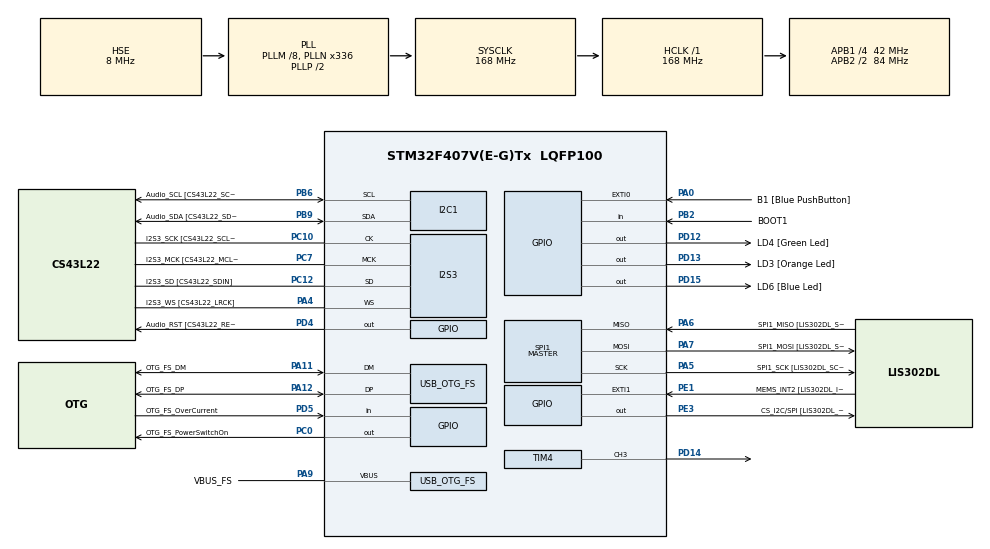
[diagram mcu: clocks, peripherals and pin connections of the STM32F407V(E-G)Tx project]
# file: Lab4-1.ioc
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I2S3.AudioFreq-Half_Duplex_Master=I2S_AUDIOFREQ_96K
I2S3.ErrorAudioFreq=-2.34 %
I2S3.ErrorAudioFreq-Half_Duplex_Master=0.8 %
I2S3.FullDuplexMode=I2S_FULLDUPLEXMODE_DISABLE
I2S3.Instance=SPI$Index
I2S3.RealAudioFreq=93.75 KHz
I2S3.RealAudioFreq-Half_Duplex_Master=96.774 KHz
I2S3.VirtualMode=I2S_MODE_MASTER
Mcu.Family=STM32F4
Mcu.Name=STM32F407V(E-G)Tx
Mcu.Package=LQFP100
NVIC.OTG_FS_IRQn=true\:0\:0\:false\:false\:true\:true\:true
NVIC.PriorityGroup=NVIC_PRIORITYGROUP_0
PA0-WKUP.GPIO_Label=B1 [Blue PushButton]
PA0-WKUP.GPIO_ModeDefaultEXTI=GPIO_MODE_EVT_RISING
PA0-WKUP.GPIO_PuPd=GPIO_NOPULL
PA0-WKUP.Signal=GPXTI0
PA10.GPIO_Label=OTG_FS_ID
PA10.GPIO_Mode=GPIO_MODE_AF_PP
PA10.GPIO_PuPd=GPIO_NOPULL
PA10.GPIO_Speed=GPIO_SPEED_FREQ_LOW
PA10.Signal=USB_OTG_FS_ID
PA11.GPIO_Label=OTG_FS_DM
PA11.GPIO_Mode=GPIO_MODE_AF_PP
PA11.GPIO_PuPd=GPIO_NOPULL
PA11.GPIO_Speed=GPIO_SPEED_FREQ_LOW
PA11.Mode=Host_Only
PA11.Signal=USB_OTG_FS_DM
PA12.GPIO_Label=OTG_FS_DP
PA12.GPIO_Mode=GPIO_MODE_AF_PP
PA12.GPIO_PuPd=GPIO_NOPULL
PA12.GPIO_Speed=GPIO_SPEED_FREQ_LOW
PA12.Mode=Host_Only
PA12.Signal=USB_OTG_FS_DP
PA13.GPIO_Label=SWDIO
PA13.Mode=Serial_Wire
PA13.Signal=SYS_JTMS-SWDIO
PA14.GPIO_Label=SWCLK
PA14.Mode=Serial_Wire
PA14.Signal=SYS_JTCK-SWCLK
PA4.GPIO_Label=I2S3_WS [CS43L22_LRCK]
PA4.GPIO_Mode=GPIO_MODE_AF_PP
PA4.GPIO_PuPd=GPIO_NOPULL
PA4.GPIO_Speed=GPIO_SPEED_FREQ_LOW
PA4.Mode=Half_Duplex_Master
PA4.Signal=I2S3_WS
PA5.GPIO_Label=SPI1_SCK [LIS302DL_SCL/SPC]
PA5.GPIO_Mode=GPIO_MODE_AF_PP
PA5.GPIO_PuPd=GPIO_NOPULL
PA5.GPIO_Speed=GPIO_SPEED_FREQ_LOW
PA5.Mode=Full_Duplex_Master
PA5.Signal=SPI1_SCK
PA6.GPIO_Label=SPI1_MISO [LIS302DL_SDO]
PA6.GPIO_Mode=GPIO_MODE_AF_PP
PA6.GPIO_PuPd=GPIO_NOPULL
PA6.GPIO_Speed=GPIO_SPEED_FREQ_LOW
PA6.Mode=Full_Duplex_Master
PA6.Signal=SPI1_MISO
PA7.GPIO_Label=SPI1_MOSI [LIS302DL_SDA/SDI/SDO]
PA7.GPIO_Mode=GPIO_MODE_AF_PP
PA7.GPIO_PuPd=GPIO_NOPULL
PA7.GPIO_Speed=GPIO_SPEED_FREQ_LOW
PA7.Mode=Full_Duplex_Master
PA7.Signal=SPI1_MOSI
PA9.GPIO_Label=VBUS_FS
PA9.GPIO_Mode=GPIO_MODE_INPUT
PA9.GPIO_PuPd=GPIO_NOPULL
PA9.Mode=Activate_VBUS
PA9.Signal=USB_OTG_FS_VBUS
PB10.GPIO_Label=CLK_IN [MP45DT02_CLK]
PB10.GPIO_Mode=GPIO_MODE_AF_PP
PB10.GPIO_PuPd=GPIO_NOPULL
PB10.GPIO_Speed=GPIO_SPEED_FREQ_LOW
PB10.Signal=I2S2_CK
PB2.GPIO_Label=BOOT1
PB2.GPIO_Mode=GPIO_MODE_INPUT
PB2.GPIO_PuPd=GPIO_NOPULL
PB2.Signal=GPIO_Input
PB3.GPIO_Label=SWO
PB3.Signal=SYS_JTDO-SWO
PB6.GPIO_Label=Audio_SCL [CS43L22_SCL]
PB6.GPIO_Mode=GPIO_MODE_AF_OD
PB6.GPIO_PuPd=GPIO_NOPULL
PB6.GPIO_Speed=GPIO_SPEED_FREQ_LOW
PB6.Mode=I2C
PB6.Signal=I2C1_SCL
PB9.GPIO_Label=Audio_SDA [CS43L22_SDA]
PB9.GPIO_Mode=GPIO_MODE_AF_OD
PB9.GPIO_PuPd=GPIO_NOPULL
PB9.GPIO_Speed=GPIO_SPEED_FREQ_LOW
PB9.Mode=I2C
PB9.Signal=I2C1_SDA
PC0.GPIO_Label=OTG_FS_PowerSwitchOn
PC0.GPIO_PuPd=GPIO_NOPULL
PC0.GPIO_Speed=GPIO_SPEED_FREQ_LOW
PC0.PinState=GPIO_PIN_SET
PC0.Signal=GPIO_Output
PC10.GPIO_Label=I2S3_SCK [CS43L22_SCLK]
PC10.GPIO_Mode=GPIO_MODE_AF_PP
PC10.GPIO_PuPd=GPIO_NOPULL
PC10.GPIO_Speed=GPIO_SPEED_FREQ_LOW
PC10.Mode=Half_Duplex_Master
PC10.Signal=I2S3_CK
PC12.GPIO_Label=I2S3_SD [CS43L22_SDIN]
PC12.GPIO_Mode=GPIO_MODE_AF_PP
PC12.GPIO_PuPd=GPIO_NOPULL
PC12.GPIO_Speed=GPIO_SPEED_FREQ_LOW
PC12.Mode=Half_Duplex_Master
PC12.Signal=I2S3_SD
PC14-OSC32_IN.GPIO_Label=PC14-OSC32_IN
PC14-OSC32_IN.Mode=LSE-External-Oscillator
PC14-OSC32_IN.Signal=RCC_OSC32_IN
PC15-OSC32_OUT.GPIO_Label=PC15-OSC32_OUT
PC15-OSC32_OUT.Mode=LSE-External-Oscillator
PC15-OSC32_OUT.Signal=RCC_OSC32_OUT
PC3.GPIO_Label=PDM_OUT [MP45DT02_DOUT]
PC3.GPIO_Mode=GPIO_MODE_AF_PP
PC3.GPIO_PuPd=GPIO_NOPULL
PC3.GPIO_Speed=GPIO_SPEED_FREQ_LOW
PC3.Signal=I2S2_SD
PC7.GPIO_Label=I2S3_MCK [CS43L22_MCLK]
PC7.GPIO_Mode=GPIO_MODE_AF_PP
PC7.GPIO_PuPd=GPIO_NOPULL
PC7.GPIO_Speed=GPIO_SPEED_FREQ_LOW
PC7.Mode=Master_Clock_Activated
PC7.Signal=I2S3_MCK
PD12.GPIO_Label=LD4 [Green Led]
PD12.GPIO_PuPd=GPIO_NOPULL
PD12.GPIO_Speed=GPIO_SPEED_FREQ_LOW
PD12.Signal=GPIO_Output
PD13.GPIO_Label=LD3 [Orange Led]
PD13.GPIO_PuPd=GPIO_NOPULL
PD13.GPIO_Speed=GPIO_SPEED_FREQ_LOW
PD13.Signal=GPIO_Output
PD14.Signal=S_TIM4_CH3
PD15.GPIO_Label=LD6 [Blue Led]
PD15.GPIO_PuPd=GPIO_NOPULL
PD15.GPIO_Speed=GPIO_SPEED_FREQ_LOW
PD15.Signal=GPIO_Output
PD4.GPIO_Label=Audio_RST [CS43L22_RESET]
PD4.GPIO_PuPd=GPIO_NOPULL
PD4.GPIO_Speed=GPIO_SPEED_FREQ_LOW
PD4.Signal=GPIO_Output
PD5.GPIO_Label=OTG_FS_OverCurrent
PD5.GPIO_Mode=GPIO_MODE_INPUT
PD5.GPIO_PuPd=GPIO_NOPULL
PD5.Signal=GPIO_Input
PE1.GPIO_Label=MEMS_INT2 [LIS302DL_INT2]
PE1.GPIO_ModeDefaultEXTI=GPIO_MODE_EVT_RISING
PE1.GPIO_PuPd=GPIO_NOPULL
PE1.Signal=GPXTI1
PE3.GPIO_Label=CS_I2C/SPI [LIS302DL_CS_I2C/SPI]
PE3.GPIO_PuPd=GPIO_NOPULL
PE3.GPIO_Speed=GPIO_SPEED_FREQ_LOW
PE3.Signal=GPIO_Output
PH0-OSC_IN.GPIO_Label=PH0-OSC_IN
PH0-OSC_IN.Mode=HSE-External-Oscillator
PH0-OSC_IN.Signal=RCC_OSC_IN
PH1-OSC_OUT.GPIO_Label=PH1-OSC_OUT
PH1-OSC_OUT.Mode=HSE-External-Oscillator
PH1-OSC_OUT.Signal=RCC_OSC_OUT
ProjectManager.HeapSize=0x200
ProjectManager.StackSize=0x400
ProjectManager.TargetToolchain=STM32CubeIDE
RCC.48MHZClocksFreq_Value=48000000
RCC.AHBFreq_Value=168000000
RCC.APB1CLKDivider=RCC_HCLK_DIV4
RCC.APB1Freq_Value=42000000
RCC.APB1TimFreq_Value=84000000
RCC.APB2CLKDivider=RCC_HCLK_DIV2
RCC.APB2Freq_Value=84000000
RCC.APB2TimFreq_Value=168000000
RCC.CortexFreq_Value=168000000
RCC.HCLKFreq_Value=168000000
RCC.HSE_VALUE=8000000
RCC.HSI_VALUE=16000000
RCC.PLLM=8
RCC.PLLN=336
RCC.PLLQ=7
RCC.SYSCLKFreq_VALUE=168000000
RCC.SYSCLKSource=RCC_SYSCLKSOURCE_PLLCLK
RCC.VCOOutputFreq_Value=336000000
SH.S_TIM4_CH3.0=TIM4_CH3,PWM Generation3 CH3
SPI1.BaudRatePrescaler-Full_Duplex_Master=SPI_BAUDRATEPRESCALER_2
SPI1.CalculateBaudRate-Full_Duplex_Master=42.0 MBits/s
SPI1.Direction=SPI_DIRECTION_2LINES
SPI1.Mode=SPI_MODE_MASTER
SPI1.Mode-Full_Duplex_Master=SPI_MODE_MASTER
SPI1.VirtualType=VM_MASTER
TIM4.AutoReloadPreload=TIM_AUTORELOAD_PRELOAD_ENABLE
TIM4.Channel-PWM\ Generation3\ CH3=TIM_CHANNEL_3
TIM4.Period=99
TIM4.Prescaler=167
USB_HOST.BSP.number=1
USB_HOST.USBH_HandleTypeDef-CDC_FS=hUsbHostFS
USB_HOST.VirtualModeFS=Cdc
USB_HOST0.BSP.STBoard=false
USB_HOST0.BSP.api=Unknown
USB_HOST0.BSP.i2caddr=0
USB_HOST0.BSP.i2creg=0
USB_HOST0.BSP.instance=PC0
USB_HOST0.BSP.ip=GPIO
USB_HOST0.BSP.mode=Output
USB_HOST0.BSP.name=Drive_VBUS_FS
USB_HOST0.BSP.solution=PC0
USB_OTG_FS.VirtualMode=Host_Only
USB_OTG_FS.phy_itface=HCD_PHY_EMBEDDED
VP_TIM4_VS_ClockSourceINT.Mode=Internal
VP_USB_HOST_VS_USB_HOST_CDC_FS.Mode=CDC_FS
board=STM32F4DISCOVERY

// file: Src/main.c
/* USER CODE BEGIN Header */
/**
  ******************************************************************************
  * @file           : main.c
  * @brief          : Main program body
  ******************************************************************************
  * @attention
  *
  * <h2><center>&copy; Copyright (c) 2019 STMicroelectronics.
  * All rights reserved.</center></h2>
  *
  * This software component is licensed by ST under Ultimate Liberty license
  * SLA0044, the "License"; You may not use this file except in compliance with
  * the License. You may obtain a copy of the License at:
  *                             www.st.com/SLA0044
  *
  ******************************************************************************
  */
/* USER CODE END Header */

#include "main.h"
#include "usb_host.h"

I2C_HandleTypeDef hi2c1;

I2S_HandleTypeDef hi2s3;

SPI_HandleTypeDef hspi1;

TIM_HandleTypeDef htim4;

void SystemClock_Config(void);
static void MX_GPIO_Init(void);
static void MX_I2C1_Init(void);
static void MX_I2S3_Init(void);
static void MX_SPI1_Init(void);
static void MX_TIM4_Init(void);
void MX_USB_HOST_Process(void);

int main(void) {

	/* MCU Configuration--------------------------------------------------------*/

	/* Reset of all peripherals, Initializes the Flash interface and the Systick. */
	HAL_Init();

	/* Configure the system clock */
	SystemClock_Config();

	/* Initialize all configured peripherals */
	MX_GPIO_Init();
	MX_I2C1_Init();
	MX_I2S3_Init();
	MX_SPI1_Init();
	MX_USB_HOST_Init();
	MX_TIM4_Init();
	/* USER CODE BEGIN 2 */
	HAL_TIM_PWM_Start(&htim4, TIM_CHANNEL_3);
	/* USER CODE END 2 */

	/* Infinite loop */
	/* USER CODE BEGIN WHILE */
	int c = 0;
	int state = 1;
	while (1) {

		MX_USB_HOST_Process();
		if (state == 1) {
			TIM4->CCR3 = c;
			c++;
			if (c == 100) {
				state = 0;
				c--;
			}
		} else if (state == 0) {
			TIM4->CCR3 = c;
			c--;
			if (c == 0) {
				state = 1;
				c++;
			}
		}
		HAL_Delay(10);
		/* USER CODE END WHILE */
		MX_USB_HOST_Process();

	}
}

void SystemClock_Config(void)
{
  RCC_OscInitTypeDef RCC_OscInitStruct = {0};
  RCC_ClkInitTypeDef RCC_ClkInitStruct = {0};
  RCC_PeriphCLKInitTypeDef PeriphClkInitStruct = {0};

  /** Configure the main internal regulator output voltage
  */
  __HAL_RCC_PWR_CLK_ENABLE();
  __HAL_PWR_VOLTAGESCALING_CONFIG(PWR_REGULATOR_VOLTAGE_SCALE1);
  /** Initializes the CPU, AHB and APB busses clocks
  */
  RCC_OscInitStruct.OscillatorType = RCC_OSCILLATORTYPE_HSE;
  RCC_OscInitStruct.HSEState = RCC_HSE_ON;
  RCC_OscInitStruct.PLL.PLLState = RCC_PLL_ON;
  RCC_OscInitStruct.PLL.PLLSource = RCC_PLLSOURCE_HSE;
  RCC_OscInitStruct.PLL.PLLM = 8;
  RCC_OscInitStruct.PLL.PLLN = 336;
  RCC_OscInitStruct.PLL.PLLP = RCC_PLLP_DIV2;
  RCC_OscInitStruct.PLL.PLLQ = 7;
  if (HAL_RCC_OscConfig(&RCC_OscInitStruct) != HAL_OK)
  {
    Error_Handler();
  }
  /** Initializes the CPU, AHB and APB busses clocks
  */
  RCC_ClkInitStruct.ClockType = RCC_CLOCKTYPE_HCLK|RCC_CLOCKTYPE_SYSCLK
                              |RCC_CLOCKTYPE_PCLK1|RCC_CLOCKTYPE_PCLK2;
  RCC_ClkInitStruct.SYSCLKSource = RCC_SYSCLKSOURCE_PLLCLK;
  RCC_ClkInitStruct.AHBCLKDivider = RCC_SYSCLK_DIV1;
  RCC_ClkInitStruct.APB1CLKDivider = RCC_HCLK_DIV4;
  RCC_ClkInitStruct.APB2CLKDivider = RCC_HCLK_DIV2;

  if (HAL_RCC_ClockConfig(&RCC_ClkInitStruct, FLASH_LATENCY_5) != HAL_OK)
  {
    Error_Handler();
  }
  PeriphClkInitStruct.PeriphClockSelection = RCC_PERIPHCLK_I2S;
  PeriphClkInitStruct.PLLI2S.PLLI2SN = 192;
  PeriphClkInitStruct.PLLI2S.PLLI2SR = 2;
  if (HAL_RCCEx_PeriphCLKConfig(&PeriphClkInitStruct) != HAL_OK)
  {
    Error_Handler();
  }
}

static void MX_I2C1_Init(void)
{

  hi2c1.Instance = I2C1;
  hi2c1.Init.ClockSpeed = 100000;
  hi2c1.Init.DutyCycle = I2C_DUTYCYCLE_2;
  hi2c1.Init.OwnAddress1 = 0;
  hi2c1.Init.AddressingMode = I2C_ADDRESSINGMODE_7BIT;
  hi2c1.Init.DualAddressMode = I2C_DUALADDRESS_DISABLE;
  hi2c1.Init.OwnAddress2 = 0;
  hi2c1.Init.GeneralCallMode = I2C_GENERALCALL_DISABLE;
  hi2c1.Init.NoStretchMode = I2C_NOSTRETCH_DISABLE;
  if (HAL_I2C_Init(&hi2c1) != HAL_OK)
  {
    Error_Handler();
  }

}

static void MX_I2S3_Init(void)
{

  hi2s3.Instance = SPI3;
  hi2s3.Init.Mode = I2S_MODE_MASTER_TX;
  hi2s3.Init.Standard = I2S_STANDARD_PHILIPS;
  hi2s3.Init.DataFormat = I2S_DATAFORMAT_16B;
  hi2s3.Init.MCLKOutput = I2S_MCLKOUTPUT_ENABLE;
  hi2s3.Init.AudioFreq = I2S_AUDIOFREQ_96K;
  hi2s3.Init.CPOL = I2S_CPOL_LOW;
  hi2s3.Init.ClockSource = I2S_CLOCK_PLL;
  hi2s3.Init.FullDuplexMode = I2S_FULLDUPLEXMODE_DISABLE;
  if (HAL_I2S_Init(&hi2s3) != HAL_OK)
  {
    Error_Handler();
  }

}

static void MX_SPI1_Init(void)
{

  /* SPI1 parameter configuration*/
  hspi1.Instance = SPI1;
  hspi1.Init.Mode = SPI_MODE_MASTER;
  hspi1.Init.Direction = SPI_DIRECTION_2LINES;
  hspi1.Init.DataSize = SPI_DATASIZE_8BIT;
  hspi1.Init.CLKPolarity = SPI_POLARITY_LOW;
  hspi1.Init.CLKPhase = SPI_PHASE_1EDGE;
  hspi1.Init.NSS = SPI_NSS_SOFT;
  hspi1.Init.BaudRatePrescaler = SPI_BAUDRATEPRESCALER_2;
  hspi1.Init.FirstBit = SPI_FIRSTBIT_MSB;
  hspi1.Init.TIMode = SPI_TIMODE_DISABLE;
  hspi1.Init.CRCCalculation = SPI_CRCCALCULATION_DISABLE;
  hspi1.Init.CRCPolynomial = 10;
  if (HAL_SPI_Init(&hspi1) != HAL_OK)
  {
    Error_Handler();
  }

}

static void MX_TIM4_Init(void)
{

  TIM_ClockConfigTypeDef sClockSourceConfig = {0};
  TIM_MasterConfigTypeDef sMasterConfig = {0};
  TIM_OC_InitTypeDef sConfigOC = {0};

  htim4.Instance = TIM4;
  htim4.Init.Prescaler = 167;
  htim4.Init.CounterMode = TIM_COUNTERMODE_UP;
  htim4.Init.Period = 99;
  htim4.Init.ClockDivision = TIM_CLOCKDIVISION_DIV1;
  htim4.Init.AutoReloadPreload = TIM_AUTORELOAD_PRELOAD_ENABLE;
  if (HAL_TIM_Base_Init(&htim4) != HAL_OK)
  {
    Error_Handler();
  }
  sClockSourceConfig.ClockSource = TIM_CLOCKSOURCE_INTERNAL;
  if (HAL_TIM_ConfigClockSource(&htim4, &sClockSourceConfig) != HAL_OK)
  {
    Error_Handler();
  }
  if (HAL_TIM_PWM_Init(&htim4) != HAL_OK)
  {
    Error_Handler();
  }
  sMasterConfig.MasterOutputTrigger = TIM_TRGO_RESET;
  sMasterConfig.MasterSlaveMode = TIM_MASTERSLAVEMODE_DISABLE;
  if (HAL_TIMEx_MasterConfigSynchronization(&htim4, &sMasterConfig) != HAL_OK)
  {
    Error_Handler();
  }
  sConfigOC.OCMode = TIM_OCMODE_PWM1;
  sConfigOC.Pulse = 0;
  sConfigOC.OCPolarity = TIM_OCPOLARITY_HIGH;
  sConfigOC.OCFastMode = TIM_OCFAST_DISABLE;
  if (HAL_TIM_PWM_ConfigChannel(&htim4, &sConfigOC, TIM_CHANNEL_3) != HAL_OK)
  {
    Error_Handler();
  }
  HAL_TIM_MspPostInit(&htim4);

}

static void MX_GPIO_Init(void)
{
  GPIO_InitTypeDef GPIO_InitStruct = {0};

  /* GPIO Ports Clock Enable */
  __HAL_RCC_GPIOE_CLK_ENABLE();
  __HAL_RCC_GPIOC_CLK_ENABLE();
  __HAL_RCC_GPIOH_CLK_ENABLE();
  __HAL_RCC_GPIOA_CLK_ENABLE();
  __HAL_RCC_GPIOB_CLK_ENABLE();
  __HAL_RCC_GPIOD_CLK_ENABLE();

  /*Configure GPIO pin Output Level */
  HAL_GPIO_WritePin(CS_I2C_SPI_GPIO_Port, CS_I2C_SPI_Pin, GPIO_PIN_RESET);

  /*Configure GPIO pin Output Level */
  HAL_GPIO_WritePin(OTG_FS_PowerSwitchOn_GPIO_Port, OTG_FS_PowerSwitchOn_Pin, GPIO_PIN_SET);

  /*Configure GPIO pin Output Level */
  HAL_GPIO_WritePin(GPIOD, LD4_Pin|LD3_Pin|LD6_Pin|Audio_RST_Pin, GPIO_PIN_RESET);

  /*Configure GPIO pin : CS_I2C_SPI_Pin */
  GPIO_InitStruct.Pin = CS_I2C_SPI_Pin;
  GPIO_InitStruct.Mode = GPIO_MODE_OUTPUT_PP;
  GPIO_InitStruct.Pull = GPIO_NOPULL;
  GPIO_InitStruct.Speed = GPIO_SPEED_FREQ_LOW;
  HAL_GPIO_Init(CS_I2C_SPI_GPIO_Port, &GPIO_InitStruct);

  /*Configure GPIO pin : OTG_FS_PowerSwitchOn_Pin */
  GPIO_InitStruct.Pin = OTG_FS_PowerSwitchOn_Pin;
  GPIO_InitStruct.Mode = GPIO_MODE_OUTPUT_PP;
  GPIO_InitStruct.Pull = GPIO_NOPULL;
  GPIO_InitStruct.Speed = GPIO_SPEED_FREQ_LOW;
  HAL_GPIO_Init(OTG_FS_PowerSwitchOn_GPIO_Port, &GPIO_InitStruct);

  /*Configure GPIO pin : PDM_OUT_Pin */
  GPIO_InitStruct.Pin = PDM_OUT_Pin;
  GPIO_InitStruct.Mode = GPIO_MODE_AF_PP;
  GPIO_InitStruct.Pull = GPIO_NOPULL;
  GPIO_InitStruct.Speed = GPIO_SPEED_FREQ_LOW;
  GPIO_InitStruct.Alternate = GPIO_AF5_SPI2;
  HAL_GPIO_Init(PDM_OUT_GPIO_Port, &GPIO_InitStruct);

  /*Configure GPIO pin : B1_Pin */
  GPIO_InitStruct.Pin = B1_Pin;
  GPIO_InitStruct.Mode = GPIO_MODE_EVT_RISING;
  GPIO_InitStruct.Pull = GPIO_NOPULL;
  HAL_GPIO_Init(B1_GPIO_Port, &GPIO_InitStruct);

  /*Configure GPIO pin : BOOT1_Pin */
  GPIO_InitStruct.Pin = BOOT1_Pin;
  GPIO_InitStruct.Mode = GPIO_MODE_INPUT;
  GPIO_InitStruct.Pull = GPIO_NOPULL;
  HAL_GPIO_Init(BOOT1_GPIO_Port, &GPIO_InitStruct);

  /*Configure GPIO pin : CLK_IN_Pin */
  GPIO_InitStruct.Pin = CLK_IN_Pin;
  GPIO_InitStruct.Mode = GPIO_MODE_AF_PP;
  GPIO_InitStruct.Pull = GPIO_NOPULL;
  GPIO_InitStruct.Speed = GPIO_SPEED_FREQ_LOW;
  GPIO_InitStruct.Alternate = GPIO_AF5_SPI2;
  HAL_GPIO_Init(CLK_IN_GPIO_Port, &GPIO_InitStruct);

  /*Configure GPIO pins : LD4_Pin LD3_Pin LD6_Pin Audio_RST_Pin */
  GPIO_InitStruct.Pin = LD4_Pin|LD3_Pin|LD6_Pin|Audio_RST_Pin;
  GPIO_InitStruct.Mode = GPIO_MODE_OUTPUT_PP;
  GPIO_InitStruct.Pull = GPIO_NOPULL;
  GPIO_InitStruct.Speed = GPIO_SPEED_FREQ_LOW;
  HAL_GPIO_Init(GPIOD, &GPIO_InitStruct);

  /*Configure GPIO pin : OTG_FS_OverCurrent_Pin */
  GPIO_InitStruct.Pin = OTG_FS_OverCurrent_Pin;
  GPIO_InitStruct.Mode = GPIO_MODE_INPUT;
  GPIO_InitStruct.Pull = GPIO_NOPULL;
  HAL_GPIO_Init(OTG_FS_OverCurrent_GPIO_Port, &GPIO_InitStruct);

  /*Configure GPIO pin : MEMS_INT2_Pin */
  GPIO_InitStruct.Pin = MEMS_INT2_Pin;
  GPIO_InitStruct.Mode = GPIO_MODE_EVT_RISING;
  GPIO_InitStruct.Pull = GPIO_NOPULL;
  HAL_GPIO_Init(MEMS_INT2_GPIO_Port, &GPIO_InitStruct);

}

void Error_Handler(void)
{
}

/************************ (C) COPYRIGHT STMicroelectronics *****END OF FILE****/
